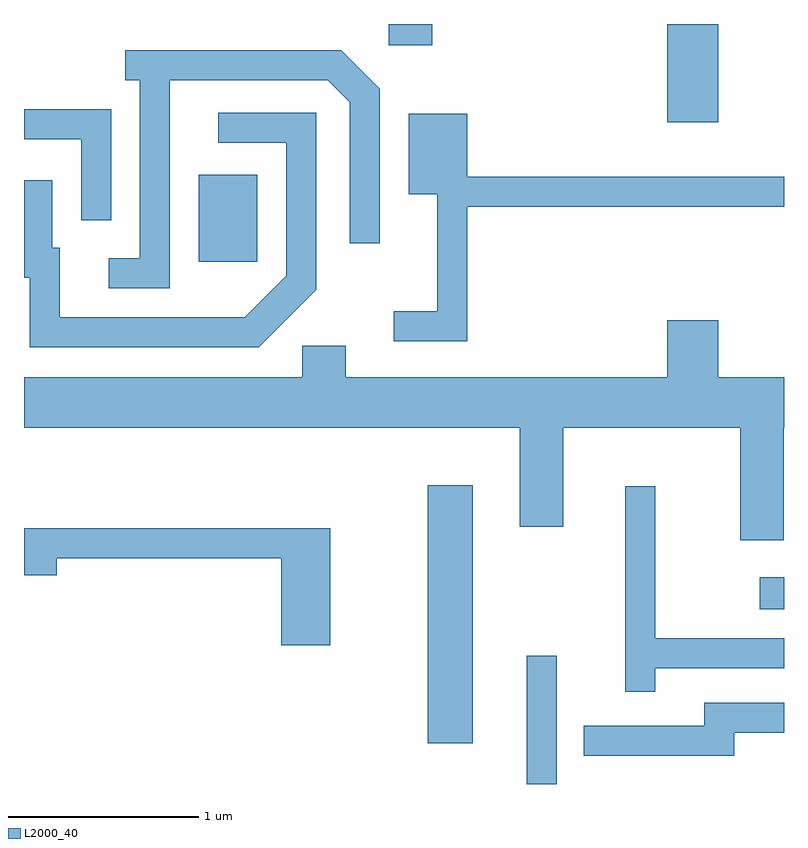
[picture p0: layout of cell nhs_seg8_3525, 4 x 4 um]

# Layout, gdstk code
import gdstk
lib = gdstk.Library(unit=1e-6, precision=1e-09)
def R(c, l, rs):  # rectangles x0, y0, x1, y1
    for r in rs: c.add(gdstk.rectangle(r[:2], r[2:], *l))
def P(c, l, *ps):  # polygons
    for p in ps: c.add(gdstk.Polygon(p, *l))
L2000_40 = (2000, 40)

nhs_seg8_3525 = lib.new_cell('nhs_seg8_3525')
R(nhs_seg8_3525, L2000_40, [(294.256,1812.342,294.414,1813.018), (293.736,1812.556,293.974,1813.914), (295.483,1813.261,295.611,1813.429), (292.531,1815.091,292.839,1815.549), (294.996,1815.826,295.264,1816.342), (293.531,1816.231,293.759,1816.342)])
P(nhs_seg8_3525, L2000_40, [(292.379,1816.046),(293.209,1816.046),(293.326,1815.929),(293.326,1815.188),(293.484,1815.188),(293.484,1816.002),(293.282,1816.204),(292.143,1816.204),(292.143,1816.046),(292.221,1816.046),(292.221,1815.109),(292.058,1815.109),(292.058,1814.951),(292.379,1814.951)],
  [(292.069,1815.894),(291.611,1815.894),(291.611,1815.736),(291.911,1815.736),(291.911,1815.308),(292.069,1815.308)],
  [(293.149,1814.944),(293.149,1815.874),(292.633,1815.874),(292.633,1815.716),(292.991,1815.716),(292.991,1815.017),(292.774,1814.799),(291.799,1814.799),(291.799,1815.164),(291.759,1815.164),(291.759,1815.519),(291.611,1815.519),(291.611,1815.006),(291.641,1815.006),(291.641,1814.641),(292.847,1814.641)],
  [(293.944,1815.381),(295.611,1815.381),(295.611,1815.539),(293.944,1815.539),(293.944,1815.869),(293.636,1815.869),(293.636,1815.446),(293.786,1815.446),(293.786,1814.829),(293.558,1814.829),(293.558,1814.671),(293.944,1814.671)],
  [(295.609,1814.216),(295.611,1814.216),(295.611,1814.484),(295.264,1814.484),(295.264,1814.784),(294.996,1814.784),(294.996,1814.484),(293.304,1814.484),(293.304,1814.649),(293.076,1814.649),(293.076,1814.484),(291.611,1814.484),(291.611,1814.216),(294.221,1814.216),(294.221,1813.696),(294.449,1813.696),(294.449,1814.216),(295.381,1814.216),(295.381,1813.626),(295.609,1813.626)],
  [(294.934,1812.951),(295.611,1812.951),(295.611,1813.109),(294.934,1813.109),(294.934,1813.908),(294.776,1813.908),(294.776,1812.828),(294.934,1812.828)],
  [(293.224,1813.689),(291.611,1813.689),(291.611,1813.441),(291.784,1813.441),(291.784,1813.531),(292.966,1813.531),(292.966,1813.071),(293.224,1813.071)],
  [(295.349,1812.611),(295.611,1812.611),(295.611,1812.769),(295.191,1812.769),(295.191,1812.649),(294.558,1812.649),(294.558,1812.491),(295.349,1812.491)])

lib.write_gds('nhs_seg8_3525.gds')
